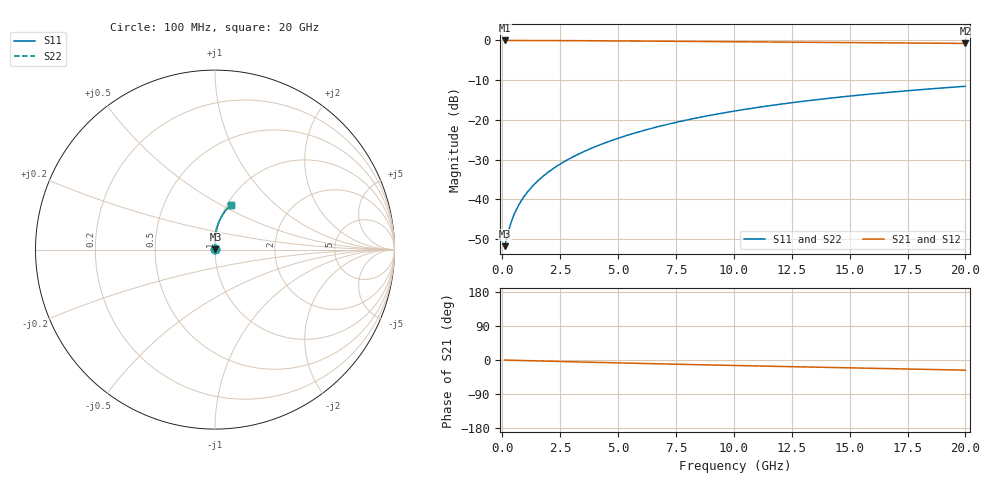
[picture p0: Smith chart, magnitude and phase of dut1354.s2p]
! Touchstone file exported from HFSS 2024.1.0
!  File:  C:/UserFiles/LocalFiles/RDL_TSV_Batchsim/temp_RDL_top_1354_1780366327.aedt
!  Generated:  10:14:26 AM Jun  2, 2026
!  Design:  RDL_top
!  Project:  temp_RDL_top_1354_1780366327
!  Setup:  Setup1
!  Solution:  Sweep
! Variables:
!  dtsv = 10.80580581um
!  hbump = 3um
!  htsv = 82.34um
!  ldown = 100um
!  lrdl = 340.87um
!  p = 40
!  p1 = 55.74um
!  rhole = 1um
!  t = 450um
!  tdown = 3.915915916um
!  trdl = 2.35um
!  wdown = 15.38538539um
!  wrdl = 27.04um
# GHz S MA R 50.000000
! Terminal data exported
! Port[1] = Box2_T1
! Port[2] = Box2_T2
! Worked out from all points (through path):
!   200 points, 100 MHz to 20 GHz, reference 50 ohm
!   highest |S21| = -0.02 dB at 100 MHz (marker M1); lowest = -0.8 dB at 20 GHz (marker M2)
!   group delay of S21, straight-line fit = 3.67 ps
!   lowest |S11| = -51.8 dB at 100 MHz (marker M3), VSWR 1.01, Z = 50.2 + j0.123 ohm
!   |S11| at or under -10 dB: start of sweep to end of sweep
!   |S22| runs from -51.8 to -11.5 dB; largest |S21 - S12| = 4.4e-15
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0.1  0.002582 28.3  0.9977 -0.2  0.9977 -0.2  0.002582 28.3
! Gamma 0 0 0 0
! Port Impedance 50 0 50 0
0.3  0.004329 55.9  0.9975 -0.5  0.9975 -0.5  0.004329 55.9
0.4  0.005338 61.9  0.9974 -0.7  0.9974 -0.7  0.005338 61.9
0.5  0.006356 66.0  0.9972 -0.8  0.9972 -0.8  0.006356 66.0
0.6  0.007375 69.0  0.9971 -1.0  0.9971 -1.0  0.007375 69.0
0.8  0.009416 73.3  0.9968 -1.3  0.9968 -1.3  0.009416 73.3
1.1  0.01251 77.5  0.9963 -1.8  0.9963 -1.8  0.01252 77.5
1.3  0.01462 79.5  0.996 -2.1  0.996 -2.1  0.01462 79.5
1.6  0.01782 81.8  0.9955 -2.6  0.9955 -2.6  0.01782 81.8
2.1  0.02331 84.4  0.9944 -3.3  0.9944 -3.3  0.02331 84.4
2.7  0.03015 86.3  0.9928 -4.3  0.9928 -4.3  0.03015 86.3
3.5  0.03967 87.9  0.9902 -5.5  0.9902 -5.5  0.03967 87.9
4.2  0.04838 88.6  0.9877 -6.5  0.9877 -6.5  0.04838 88.6
5  0.05872 88.9  0.9845 -7.7  0.9845 -7.7  0.05872 88.9
5.9  0.07079 88.7  0.9806 -9.0  0.9806 -9.0  0.07079 88.7
6.8  0.08321 88.2  0.9766 -10.2  0.9766 -10.2  0.08321 88.1
8.4  0.1058 86.6  0.9692 -12.4  0.9692 -12.4  0.1058 86.6
10.1  0.1302 84.5  0.9614 -14.6  0.9614 -14.6  0.1302 84.5
11.7  0.1531 82.3  0.954 -16.7  0.954 -16.7  0.1531 82.3
13.4  0.1771 79.9  0.9462 -18.8  0.9462 -18.8  0.1771 79.9
16.7  0.2221 75.1  0.9309 -22.8  0.9309 -22.8  0.2221 75.1
20  0.2646 70.6  0.9153 -26.7  0.9153 -26.7  0.2646 70.6
